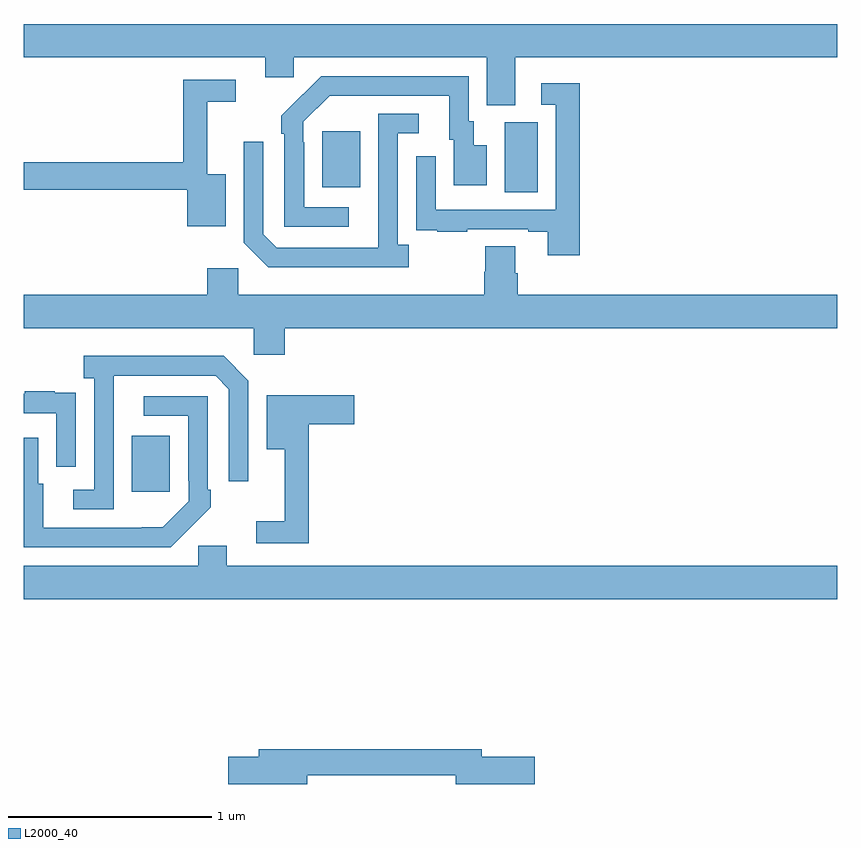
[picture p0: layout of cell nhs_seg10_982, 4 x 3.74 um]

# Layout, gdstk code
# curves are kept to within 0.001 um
import gdstk
lib = gdstk.Library(unit=1e-6, precision=1e-09)
def R(c, l, rs):  # rectangles x0, y0, x1, y1
    for r in rs: c.add(gdstk.rectangle(r[:2], r[2:], *l))
def P(c, l, *ps):  # polygons
    for p in ps: c.add(gdstk.Polygon(p, *l))
L2000_40 = (2000, 40)

nhs_seg10_982 = lib.new_cell('nhs_seg10_982')
R(nhs_seg10_982, L2000_40, [(161.531,1286.193,161.719,1286.467), (163.364,1287.664,163.528,1288.008), (162.467,1287.689,162.655,1287.964)])
P(nhs_seg10_982, L2000_40, [(161,1288.328),(162.188,1288.328),(162.188,1288.23),(162.327,1288.23),(162.327,1288.328),(163.277,1288.328),(163.277,1288.093),(163.417,1288.093),(163.417,1288.328),(165,1288.328),(165,1288.492),(161,1288.492)],
  [(162.598,1287.591),(162.378,1287.591),(162.378,1287.911),(162.375,1287.911),(162.375,1288.011),(162.504,1288.14),(163.091,1288.14),(163.091,1287.924),(163.115,1287.924),(163.115,1287.699),(163.276,1287.699),(163.276,1287.895),(163.213,1287.895),(163.213,1288.014),(163.188,1288.014),(163.188,1288.236),(162.464,1288.236),(162.267,1288.041),(162.267,1287.953),(162.282,1287.953),(162.282,1287.495),(162.598,1287.495)],
  [(161.992,1287.754),(161.903,1287.754),(161.903,1288.11),(162.043,1288.11),(162.043,1288.218),(161.785,1288.218),(161.785,1287.812),(161,1287.812),(161,1287.676),(161.805,1287.676),(161.805,1287.497),(161.992,1287.497)],
  [(163.733,1288.201),(163.545,1288.201),(163.545,1288.095),(163.617,1288.095),(163.617,1287.579),(163.026,1287.579),(163.026,1287.841),(162.93,1287.841),(162.93,1287.586),(162.931,1287.586),(162.931,1287.477),(163.033,1287.477),(163.033,1287.471),(163.181,1287.471),(163.181,1287.483),(163.481,1287.483),(163.481,1287.471),(163.577,1287.471),(163.577,1287.354),(163.733,1287.354)],
  [(162.892,1287.406),(162.84,1287.406),(162.84,1287.954),(162.943,1287.954),(162.943,1288.05),(162.744,1288.05),(162.743,1287.393),(162.243,1287.393),(162.177,1287.459),(162.177,1287.913),(162.081,1287.913),(162.081,1287.417),(162.202,1287.296),(162.892,1287.296)],
  [(162.284,1286.996),(165,1286.996),(165,1287.16),(163.43,1287.16),(163.43,1287.266),(163.417,1287.266),(163.417,1287.398),(163.27,1287.398),(163.27,1287.273),(163.265,1287.273),(163.265,1287.16),(162.054,1287.16),(162.054,1287.292),(161.903,1287.292),(161.903,1287.16),(161,1287.16),(161,1286.996),(162.132,1286.996),(162.132,1286.865),(162.284,1286.865)],
  [(161.442,1286.563),(161.443,1286.763),(161.943,1286.763),(162.009,1286.697),(162.009,1286.244),(162.105,1286.244),(162.105,1286.739),(161.984,1286.86),(161.295,1286.86),(161.295,1286.75),(161.346,1286.75),(161.346,1286.202),(161.244,1286.202),(161.244,1286.106),(161.442,1286.106)],
  [(161.256,1286.57),(161.255,1286.57),(161.255,1286.679),(161.153,1286.679),(161.153,1286.686),(161.005,1286.686),(161.005,1286.673),(161,1286.673),(161,1286.577),(161.16,1286.577),(161.16,1286.316),(161.256,1286.316)],
  [(162.401,1286.525),(162.625,1286.525),(162.625,1286.667),(162.194,1286.667),(162.194,1286.402),(162.284,1286.402),(162.284,1286.047),(162.144,1286.047),(162.144,1285.938),(162.401,1285.938)],
  [(161.813,1286.011),(161.814,1286.01),(161.919,1286.115),(161.919,1286.203),(161.904,1286.203),(161.904,1286.661),(161.589,1286.661),(161.589,1286.565),(161.808,1286.565),(161.808,1286.245),(161.811,1286.245),(161.811,1286.145),(161.683,1286.017),(161.095,1286.016),(161.095,1286.232),(161.071,1286.232),(161.071,1286.458),(161,1286.458),(161,1285.92),(161.722,1285.92)],
  [(165,1285.828),(161.998,1285.828),(161.998,1285.926),(161.859,1285.926),(161.859,1285.828),(161,1285.828),(161,1285.664),(165,1285.664)],
  [(162.394,1284.798),(163.124,1284.798),(163.124,1284.755),(163.513,1284.755),(163.513,1284.89),(163.252,1284.89),(163.252,1284.926),(162.155,1284.926),(162.155,1284.89),(162.006,1284.89),(162.006,1284.755),(162.394,1284.755)])

lib.write_gds('nhs_seg10_982.gds')
